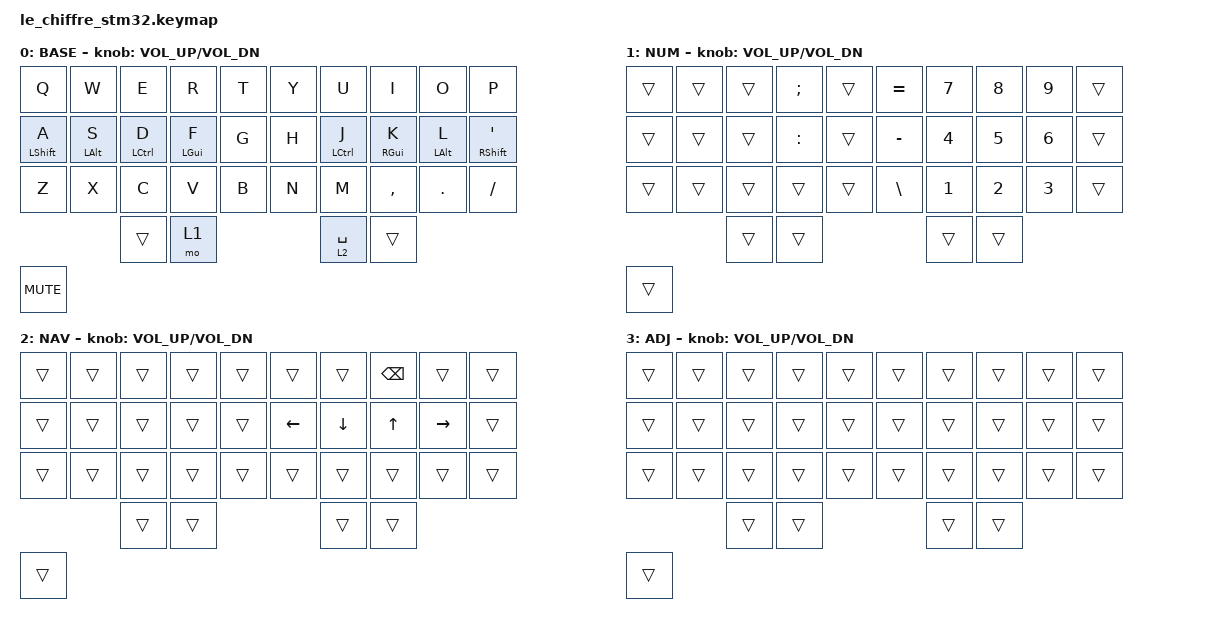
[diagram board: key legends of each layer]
/*
 * Copyright (c) 2023 sporkus
 *
 * SPDX-License-Identifier: MIT
 */

#include <behaviors.dtsi>
#include <dt-bindings/zmk/keys.h>

#define COMBO_FAST 25
#define COMBO_SLOW 75
#define BASE 0
#define NUM 1
#define NAV 2
#define ADJ 3

&lt {
    quick_tap_ms = <250>;
    flavor = "balanced";
};

/ {
    behaviors {
        hm: homerow_mods {
            compatible = "zmk,behavior-hold-tap";
            label = "homerow mods";
            #binding-cells = <2>;
            quick-tap-ms = <250>;
            flavor = "balanced";
            bindings =
                <&kp>,
                <&kp>;

            tapping-term-ms = <200>;
            hold-trigger-on-release;
        };
        hml: homerow_mods_left {
            compatible = "zmk,behavior-hold-tap";
            label = "homerow mods left";
            #binding-cells = <2>;
            quick-tap-ms = <250>;
            flavor = "balanced";
            bindings =
                <&kp>,
                <&kp>;

            tapping-term-ms = <180>;
            hold-trigger-on-release;
            hold-trigger-key-positions = <6 18 30 31 32 33 34 35 23 19 20 21 7 8 9 10 22 11>;
        };
        hmr: homerow_mods_right {
            compatible = "zmk,behavior-hold-tap";
            label = "homerow mods right";
            #binding-cells = <2>;
            quick-tap-ms = <250>;
            flavor = "balanced";
            bindings =
                <&kp>,
                <&kp>;

            tapping-term-ms = <180>;
            hold-trigger-on-release;
            hold-trigger-key-positions = <0 12 24 25 26 27 28 29 13 14 15 16 17 5 4 1 2 3>;
        };
        sft_t: sft_t {
            compatible = "zmk,behavior-hold-tap";
            label = "SFT_T";
            bindings =
                <&kp>,
                <&kp>;

            #binding-cells = <2>;
            tapping-term-ms = <300>;
            quick-tap-ms = <200>;
            hold-trigger-on-release;
            flavor = "hold-preferred";
        };
        skp: skp {
            compatible = "zmk,behavior-sticky-key";
            label = "sticky key press";
            bindings = <&kp>;
            #binding-cells = <1>;
            quick-release;
            release-after-ms = <300>;
            ignore-modifiers;
        };
        smo: smo {
            compatible = "zmk,behavior-sticky-key";
            label = "Sticky layer";
            bindings = <&mo>;
            #binding-cells = <1>;
            quick-release;
            release-after-ms = <300>;
            ignore-modifiers;
        };
        lp: lp {
            compatible = "zmk,behavior-hold-tap";
            label = "(hold, tap)";
            bindings =
                <&kp>,
                <&kp>;

            #binding-cells = <2>;
            tapping-term-ms = <180>;
            quick-tap-ms = <250>;
            flavor = "tap-preferred";
        };
        nav_t: nav_t {
            compatible = "zmk,behavior-hold-tap";
            label = "NAV_T";
            bindings =
                <&mo>,
                <&kp>;

            #binding-cells = <2>;
            quick-tap-ms = <250>;
            flavor = "hold-preferred";
            tapping-term-ms = <200>;
        };
    };

    combos {
        compatible = "zmk,combos";

        combo_esc {
            bindings = <&kp ESC>;
            key-positions = <11 12>;
            timeout-ms = <COMBO_FAST>;
        };

        combo_tab {
            bindings = <&kp TAB>;
            key-positions = <13 12>;
            timeout-ms = <COMBO_FAST>;
        };

        combo_enter {
            bindings = <&kp ENTER>;
            key-positions = <16 17>;
            timeout-ms = <COMBO_FAST>;
        };

        combo_bspc {
            bindings = <&kp BSPC>;
            key-positions = <17 18>;
            timeout-ms = <COMBO_FAST>;
        };

        combo_copypaste {
            bindings = <&lp LS(INS) LC(INS)>;
            key-positions = <22 12>;
            timeout-ms = <COMBO_FAST>;
        };

        combo_lpar {
            bindings = <&kp LPAR>;
            key-positions = <13 3>;
            timeout-ms = <COMBO_SLOW>;
        };

        combo_rpar {
            bindings = <&kp RPAR>;
            key-positions = <6 16>;
            timeout-ms = <COMBO_SLOW>;
        };

        combo_lt {
            bindings = <&kp LT>;
            key-positions = <4 14>;
            timeout-ms = <COMBO_SLOW>;
        };

        combo_gt {
            bindings = <&kp GT>;
            key-positions = <5 15>;
            timeout-ms = <COMBO_SLOW>;
        };

        combo_lbrc {
            bindings = <&kp LBRC>;
            key-positions = <12 2>;
            timeout-ms = <COMBO_SLOW>;
        };

        combo_rbrc {
            bindings = <&kp RIGHT_BRACE>;
            key-positions = <17 7>;
            timeout-ms = <COMBO_SLOW>;
        };

        combo_lbkt {
            bindings = <&kp LBKT>;
            key-positions = <1 11>;
            timeout-ms = <COMBO_SLOW>;
        };

        combo_rbkt {
            bindings = <&kp RBKT>;
            key-positions = <8 18>;
            timeout-ms = <COMBO_SLOW>;
        };

        // left indicies
        combo_lhelp {
            bindings = <&none>;
            key-positions = <0 12 24 13 14 4 1 2 3 10 11 20 21 23 22>;
            timeout-ms = <0>;
        };

        // right indicies
        combo_rhelp {
            bindings = <&none>;
            key-positions = <6 18 34 35 19 7 8 9 5 25 15 16 26 17 27 28 29>;
            timeout-ms = <0>;
        };

        combo_bootloader {
            bindings = <&bootloader>;
            key-positions = <0 1 8 9>;
        };
    };

    chosen {
        zmk,matrix_transform = &transform_with_encoder;
    };

    keymap {
        compatible = "zmk,keymap";

        BASE {
            bindings = <
       &kp Q       &kp W        &kp E           &kp R  &kp T               &kp Y        &kp U            &kp I       &kp O                         &kp P
&hm LSHIFT A  &hm LALT S  &hm LCTRL D  &hm LEFT_GUI F  &kp G               &kp H  &hm LCTRL J  &hm RIGHT_GUI K  &hm LALT L  &hm RIGHT_SHIFT SINGLE_QUOTE
       &kp Z       &kp X        &kp C           &kp V  &kp B               &kp N        &kp M        &kp COMMA     &kp DOT                      &kp FSLH
                               &trans                  &mo 1      &nav_t 2 SPACE                        &trans
  &kp C_MUTE
            >;

            sensor-bindings = <&inc_dec_kp C_VOL_UP C_VOL_DN>;
        };

        NUM {
            bindings = <
&trans  &trans  &trans   &kp SEMI  &trans      &kp EQUAL  &kp N7  &kp N8  &kp N9  &trans
&trans  &trans  &trans  &kp COLON  &trans      &kp MINUS  &kp N4  &kp N5  &kp N6  &trans
&trans  &trans  &trans     &trans  &trans       &kp BSLH  &kp N1  &kp N2  &kp N3  &trans
                &trans             &trans         &trans          &trans
&trans
            >;

            sensor-bindings = <&inc_dec_kp C_VOL_UP C_VOL_DN>;
        };

        NAV {
            bindings = <
&trans  &trans  &trans  &trans  &trans        &trans    &trans  &kp BSPC     &trans  &trans
&trans  &trans  &trans  &trans  &trans      &kp LEFT  &kp DOWN    &kp UP  &kp RIGHT  &trans
&trans  &trans  &trans  &trans  &trans        &trans    &trans    &trans     &trans  &trans
                &trans          &trans        &trans              &trans
&trans
            >;

            sensor-bindings = <&inc_dec_kp C_VOL_UP C_VOL_DN>;
        };

        ADJ {
            bindings = <
&trans  &trans  &trans  &trans  &trans      &trans  &trans  &trans  &trans  &trans
&trans  &trans  &trans  &trans  &trans      &trans  &trans  &trans  &trans  &trans
&trans  &trans  &trans  &trans  &trans      &trans  &trans  &trans  &trans  &trans
                &trans          &trans      &trans          &trans
&trans
            >;

            sensor-bindings = <&inc_dec_kp C_VOL_UP C_VOL_DN>;
        };
    };
};
